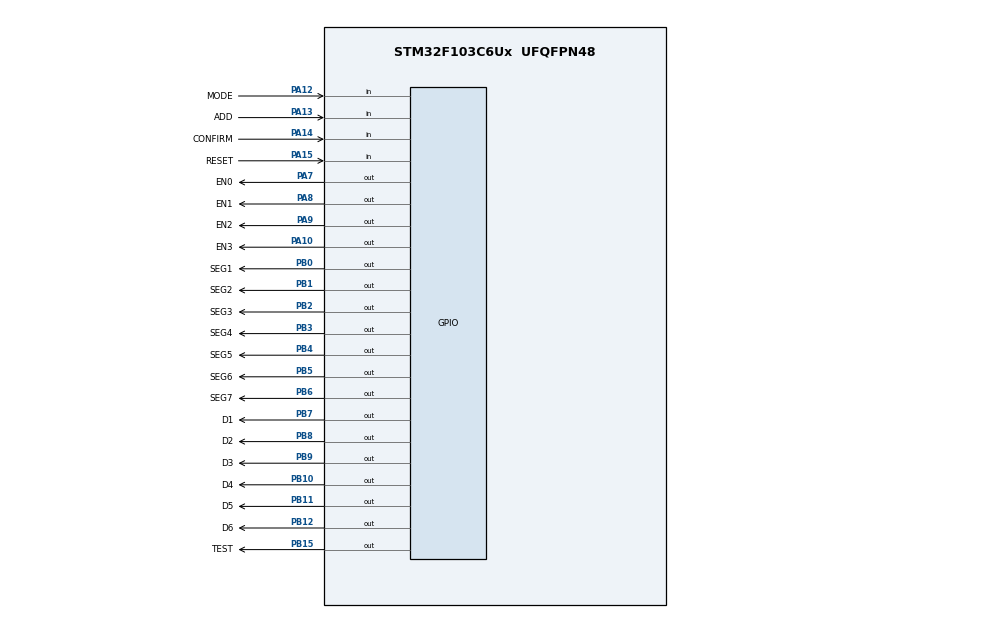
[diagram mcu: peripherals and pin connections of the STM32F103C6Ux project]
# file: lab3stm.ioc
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Mcu.Family=STM32F1
Mcu.Name=STM32F103C6Ux
Mcu.Package=UFQFPN48
NVIC.PriorityGroup=NVIC_PRIORITYGROUP_4
NVIC.TIM2_IRQn=true\:0\:0\:false\:false\:true\:true\:true
PA10.GPIO_Label=EN3
PA10.Signal=GPIO_Output
PA12.GPIO_Label=MODE
PA12.GPIO_PuPd=GPIO_NOPULL
PA12.Signal=GPIO_Input
PA13.GPIO_Label=ADD
PA13.GPIO_PuPd=GPIO_NOPULL
PA13.Signal=GPIO_Input
PA14.GPIO_Label=CONFIRM
PA14.GPIO_PuPd=GPIO_NOPULL
PA14.Signal=GPIO_Input
PA15.GPIO_Label=RESET
PA15.GPIO_PuPd=GPIO_NOPULL
PA15.Signal=GPIO_Input
PA2.Signal=USART2_TX
PA3.Signal=USART2_RX
PA7.GPIO_Label=EN0
PA7.Signal=GPIO_Output
PA8.GPIO_Label=EN1
PA8.Signal=GPIO_Output
PA9.GPIO_Label=EN2
PA9.Signal=GPIO_Output
PB0.GPIO_Label=SEG1
PB0.Signal=GPIO_Output
PB1.GPIO_Label=SEG2
PB1.Signal=GPIO_Output
PB10.GPIO_Label=D4
PB10.Signal=GPIO_Output
PB11.GPIO_Label=D5
PB11.Signal=GPIO_Output
PB12.GPIO_Label=D6
PB12.Signal=GPIO_Output
PB15.GPIO_Label=TEST
PB15.Signal=GPIO_Output
PB2.GPIO_Label=SEG3
PB2.Signal=GPIO_Output
PB3.GPIO_Label=SEG4
PB3.Signal=GPIO_Output
PB4.GPIO_Label=SEG5
PB4.Signal=GPIO_Output
PB5.GPIO_Label=SEG6
PB5.Signal=GPIO_Output
PB6.GPIO_Label=SEG7
PB6.Signal=GPIO_Output
PB7.GPIO_Label=D1
PB7.Signal=GPIO_Output
PB8.GPIO_Label=D2
PB8.Signal=GPIO_Output
PB9.GPIO_Label=D3
PB9.Signal=GPIO_Output
PC14-OSC32_IN.Signal=RCC_OSC32_IN
PC15-OSC32_OUT.Signal=RCC_OSC32_OUT
ProjectManager.HeapSize=0x200
ProjectManager.StackSize=0x400
ProjectManager.TargetToolchain=STM32CubeIDE
RCC.APB1Freq_Value=8000000
RCC.APB2Freq_Value=8000000
TIM2.Period=9
TIM2.Prescaler=7999
VP_SYS_VS_ND.Mode=No_Debug
VP_TIM2_VS_ClockSourceINT.Mode=Internal
board=custom

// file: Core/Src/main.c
/* USER CODE BEGIN Header */
/**
  ******************************************************************************
  * @file           : main.c
  * @brief          : Main program body
  ******************************************************************************
  * @attention
  *
  * <h2><center>&copy; Copyright (c) 2022 STMicroelectronics.
  * All rights reserved.</center></h2>
  *
  * This software component is licensed by ST under BSD 3-Clause license,
  * the "License"; You may not use this file except in compliance with the
  * License. You may obtain a copy of the License at:
  *                        opensource.org/licenses/BSD-3-Clause
  *
  ******************************************************************************
  */
/* USER CODE END Header */
#include "main.h"

/* USER CODE BEGIN Includes */
#include "input_reading.h"
#include "input_processing.h"
#include "global.h"
#include "software_timer.h"
#include "time.h"
#include "seg7_handle.h"
/* USER CODE END Includes */

TIM_HandleTypeDef htim2;

void SystemClock_Config(void);
static void MX_GPIO_Init(void);
static void MX_TIM2_Init(void);

int main(void)
{

  /* MCU Configuration--------------------------------------------------------*/

  /* Reset of all peripherals, Initializes the Flash interface and the Systick. */
  HAL_Init();

  /* Configure the system clock */
  SystemClock_Config();

  /* Initialize all configured peripherals */
  MX_GPIO_Init();
  MX_TIM2_Init();
  /* USER CODE BEGIN 2 */
  HAL_TIM_Base_Start_IT(&htim2);
  /* USER CODE END 2 */

  /* Infinite loop */
  /* USER CODE BEGIN WHILE */
  setTimer1(250);
  setTimer2(1000);
  int seg7_mode = 0;
  while (1)
  {
    /* USER CODE END WHILE */

    /* USER CODE BEGIN 3 */
	  if (timer1_flag == 1) {
		  seg7_mode = (seg7_mode + 1) % 4;
		  update7SEG(seg7_mode);
		  setTimer1(250);
	  }
	  traffic_processing();
	  fsm_simple_button_run();
  }
  /* USER CODE END 3 */
}

void SystemClock_Config(void)
{
  RCC_OscInitTypeDef RCC_OscInitStruct = {0};
  RCC_ClkInitTypeDef RCC_ClkInitStruct = {0};

  /** Initializes the RCC Oscillators according to the specified parameters
  * in the RCC_OscInitTypeDef structure.
  */
  RCC_OscInitStruct.OscillatorType = RCC_OSCILLATORTYPE_HSI;
  RCC_OscInitStruct.HSIState = RCC_HSI_ON;
  RCC_OscInitStruct.HSICalibrationValue = RCC_HSICALIBRATION_DEFAULT;
  RCC_OscInitStruct.PLL.PLLState = RCC_PLL_NONE;
  if (HAL_RCC_OscConfig(&RCC_OscInitStruct) != HAL_OK)
  {
    Error_Handler();
  }
  /** Initializes the CPU, AHB and APB buses clocks
  */
  RCC_ClkInitStruct.ClockType = RCC_CLOCKTYPE_HCLK|RCC_CLOCKTYPE_SYSCLK
                              |RCC_CLOCKTYPE_PCLK1|RCC_CLOCKTYPE_PCLK2;
  RCC_ClkInitStruct.SYSCLKSource = RCC_SYSCLKSOURCE_HSI;
  RCC_ClkInitStruct.AHBCLKDivider = RCC_SYSCLK_DIV1;
  RCC_ClkInitStruct.APB1CLKDivider = RCC_HCLK_DIV1;
  RCC_ClkInitStruct.APB2CLKDivider = RCC_HCLK_DIV1;

  if (HAL_RCC_ClockConfig(&RCC_ClkInitStruct, FLASH_LATENCY_0) != HAL_OK)
  {
    Error_Handler();
  }
}

static void MX_TIM2_Init(void)
{

  TIM_ClockConfigTypeDef sClockSourceConfig = {0};
  TIM_MasterConfigTypeDef sMasterConfig = {0};

  htim2.Instance = TIM2;
  htim2.Init.Prescaler = 7999;
  htim2.Init.CounterMode = TIM_COUNTERMODE_UP;
  htim2.Init.Period = 9;
  htim2.Init.ClockDivision = TIM_CLOCKDIVISION_DIV1;
  htim2.Init.AutoReloadPreload = TIM_AUTORELOAD_PRELOAD_DISABLE;
  if (HAL_TIM_Base_Init(&htim2) != HAL_OK)
  {
    Error_Handler();
  }
  sClockSourceConfig.ClockSource = TIM_CLOCKSOURCE_INTERNAL;
  if (HAL_TIM_ConfigClockSource(&htim2, &sClockSourceConfig) != HAL_OK)
  {
    Error_Handler();
  }
  sMasterConfig.MasterOutputTrigger = TIM_TRGO_RESET;
  sMasterConfig.MasterSlaveMode = TIM_MASTERSLAVEMODE_DISABLE;
  if (HAL_TIMEx_MasterConfigSynchronization(&htim2, &sMasterConfig) != HAL_OK)
  {
    Error_Handler();
  }

}

static void MX_GPIO_Init(void)
{
  GPIO_InitTypeDef GPIO_InitStruct = {0};

  /* GPIO Ports Clock Enable */
  __HAL_RCC_GPIOC_CLK_ENABLE();
  __HAL_RCC_GPIOA_CLK_ENABLE();
  __HAL_RCC_GPIOB_CLK_ENABLE();

  /*Configure GPIO pin Output Level */
  HAL_GPIO_WritePin(GPIOA, EN0_Pin|EN1_Pin|EN2_Pin|EN3_Pin, GPIO_PIN_RESET);

  /*Configure GPIO pin Output Level */
  HAL_GPIO_WritePin(GPIOB, SEG1_Pin|SEG2_Pin|SEG3_Pin|D4_Pin
                          |D5_Pin|D6_Pin|TEST_Pin|SEG4_Pin
                          |SEG5_Pin|SEG6_Pin|SEG7_Pin|D1_Pin
                          |D2_Pin|D3_Pin, GPIO_PIN_RESET);

  /*Configure GPIO pin : PA2 */
  GPIO_InitStruct.Pin = GPIO_PIN_2;
  GPIO_InitStruct.Mode = GPIO_MODE_AF_PP;
  GPIO_InitStruct.Speed = GPIO_SPEED_FREQ_HIGH;
  HAL_GPIO_Init(GPIOA, &GPIO_InitStruct);

  /*Configure GPIO pin : PA3 */
  GPIO_InitStruct.Pin = GPIO_PIN_3;
  GPIO_InitStruct.Mode = GPIO_MODE_INPUT;
  GPIO_InitStruct.Pull = GPIO_NOPULL;
  HAL_GPIO_Init(GPIOA, &GPIO_InitStruct);

  /*Configure GPIO pins : EN0_Pin EN1_Pin EN2_Pin EN3_Pin */
  GPIO_InitStruct.Pin = EN0_Pin|EN1_Pin|EN2_Pin|EN3_Pin;
  GPIO_InitStruct.Mode = GPIO_MODE_OUTPUT_PP;
  GPIO_InitStruct.Pull = GPIO_NOPULL;
  GPIO_InitStruct.Speed = GPIO_SPEED_FREQ_LOW;
  HAL_GPIO_Init(GPIOA, &GPIO_InitStruct);

  /*Configure GPIO pins : SEG1_Pin SEG2_Pin SEG3_Pin D4_Pin
                           D5_Pin D6_Pin TEST_Pin SEG4_Pin
                           SEG5_Pin SEG6_Pin SEG7_Pin D1_Pin
                           D2_Pin D3_Pin */
  GPIO_InitStruct.Pin = SEG1_Pin|SEG2_Pin|SEG3_Pin|D4_Pin
                          |D5_Pin|D6_Pin|TEST_Pin|SEG4_Pin
                          |SEG5_Pin|SEG6_Pin|SEG7_Pin|D1_Pin
                          |D2_Pin|D3_Pin;
  GPIO_InitStruct.Mode = GPIO_MODE_OUTPUT_PP;
  GPIO_InitStruct.Pull = GPIO_NOPULL;
  GPIO_InitStruct.Speed = GPIO_SPEED_FREQ_LOW;
  HAL_GPIO_Init(GPIOB, &GPIO_InitStruct);

  /*Configure GPIO pins : MODE_Pin ADD_Pin CONFIRM_Pin RESET_Pin */
  GPIO_InitStruct.Pin = MODE_Pin|ADD_Pin|CONFIRM_Pin|RESET_Pin;
  GPIO_InitStruct.Mode = GPIO_MODE_INPUT;
  GPIO_InitStruct.Pull = GPIO_NOPULL;
  HAL_GPIO_Init(GPIOA, &GPIO_InitStruct);

}

void Error_Handler(void)
{
  __disable_irq();
  while (1)
  {
  }
}

/************************ (C) COPYRIGHT STMicroelectronics *****END OF FILE****/
